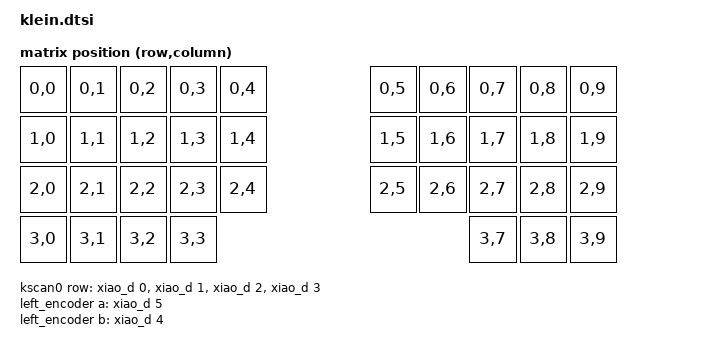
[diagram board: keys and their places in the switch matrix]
/*
 * Copyright (c) 2020 Derek Schmell
 *
 * SPDX-License-Identifier: MIT
 */

#include <dt-bindings/zmk/matrix_transform.h>
#include "trackpad_config.dtsi"

/ {
	chosen {
		zmk,kscan = &kscan0;
		zmk,matrix_transform = &default_transform;
	};

	default_transform: keymap_transform_0 {
		compatible = "zmk,matrix-transform";
		columns = <10>;
		rows = <4>;
// | SW0 | SW5 | SW10 | SW15 | SW20 | SW25		             | SW25 | SW20 | SW15 | SW10 | SW5 | SW1 |
// | SW1 | SW6 | SW11 | SW16 | SW21 | SW26		             | SW26 | SW21 | SW16 | SW11 | SW6 | SW2 |
// | SW2 | SW7 | SW12 | SW17 | SW22 | SW27		             | SW27 | SW22 | SW17 | SW12 | SW7 | SW3 |
// | SW3 | SW8 | SW13 | SW18 | SW23 | SW28		             | SW28 | SW23 | SW18 | SW13 | SW8 | SW4 |
// | SW4 | SW9 | SW14 | SW19 | SW24 | SW29                   | SW29 | SW24 | SW19 | SW14 | SW9 | SW5 |
//                                    SW30                   | SW30
		map = <
RC(0,0) RC(0,1) RC(0,2) RC(0,3) RC(0,4)                 RC(0,5) RC(0,6) RC(0,7) RC(0,8) RC(0,9) 
RC(1,0) RC(1,1) RC(1,2) RC(1,3) RC(1,4)                 RC(1,5) RC(1,6) RC(1,7) RC(1,8) RC(1,9) 
RC(2,0) RC(2,1) RC(2,2) RC(2,3) RC(2,4)                 RC(2,5) RC(2,6) RC(2,7) RC(2,8) RC(2,9) 
RC(3,0) RC(3,1) RC(3,2) RC(3,3)                                         RC(3,7) RC(3,8) RC(3,9)
		>;
	};

	kscan0: kscan {
		compatible = "zmk,kscan-gpio-matrix";
		label = "KSCAN";

		diode-direction = "row2col";
        row-gpios
            = <&xiao_d 0 GPIO_ACTIVE_HIGH>
            , <&xiao_d 1 GPIO_ACTIVE_HIGH>
            , <&xiao_d 2 GPIO_ACTIVE_HIGH>
            , <&xiao_d 3 GPIO_ACTIVE_HIGH>
            ;
	};

	left_encoder: encoder_left {
        compatible = "alps,ec11";
        label = "LEFT_ENCODER";
        a-gpios = <&xiao_d 5 (GPIO_ACTIVE_HIGH | GPIO_PULL_UP)>;
        b-gpios = <&xiao_d 4 (GPIO_ACTIVE_HIGH | GPIO_PULL_UP)>;
        resolution = <2>;
		status = "disabled";
	};

	sensors {
		compatible = "zmk,keymap-sensors";
		sensors = <&left_encoder>;
	};
	trackpad_listener: trackpad_listener {
        compatible = "zmk,input-listener";
        device = <&trackpad>;
    };
};

&i2c1 {
    trackpad: trackpad@74 {
        status = "disabled";
        compatible = "azoteq,iqs5xx";
        reg = <0x74>;
        reset-gpios = <&gpio0 9 GPIO_ACTIVE_LOW>;
        rdy-gpios = <&gpio0 10 GPIO_ACTIVE_HIGH>;

        // Gesture features (configured in trackpad_config.dtsi)
#ifdef TRACKPAD_ONE_FINGER_TAP
        one-finger-tap;
#endif
#ifdef TRACKPAD_TWO_FINGER_TAP
        two-finger-tap;
#endif
#ifdef TRACKPAD_PRESS_AND_HOLD
        press-and-hold;
        press-and-hold-time = <TRACKPAD_PRESS_HOLD_TIME>;
#endif
#ifdef TRACKPAD_SCROLL
        scroll;
#endif

        // Scroll direction (configured in trackpad_config.dtsi)
#ifdef TRACKPAD_NATURAL_SCROLL_Y
        natural-scroll-y;
#endif
#ifdef TRACKPAD_NATURAL_SCROLL_X
        natural-scroll-x;
#endif

        // Sensitivity settings (configured in trackpad_config.dtsi)
        bottom-beta = <TRACKPAD_BOTTOM_BETA>;
        stationary-threshold = <TRACKPAD_STATIONARY_THRESHOLD>;

        // Orientation (configured in trackpad_config.dtsi)
#ifdef TRACKPAD_SWITCH_XY
        switch-xy;
#endif
#ifdef TRACKPAD_FLIP_X
        flip-x;
#endif
#ifdef TRACKPAD_FLIP_Y
        flip-y;
#endif
    };
};

/ {
    trackpad_input: trackpad_input {
        compatible = "zmk,input-listener";
        status = "disabled";
        device = <&trackpad>;
    };

    split_inputs {
        #address-cells = <1>;
        #size-cells = <0>;

        trackpad_peripheral_split: trackpad_peripheral_split@74 {
            compatible = "zmk,input-split";
            reg = <0x74>;
        };
    };
};

